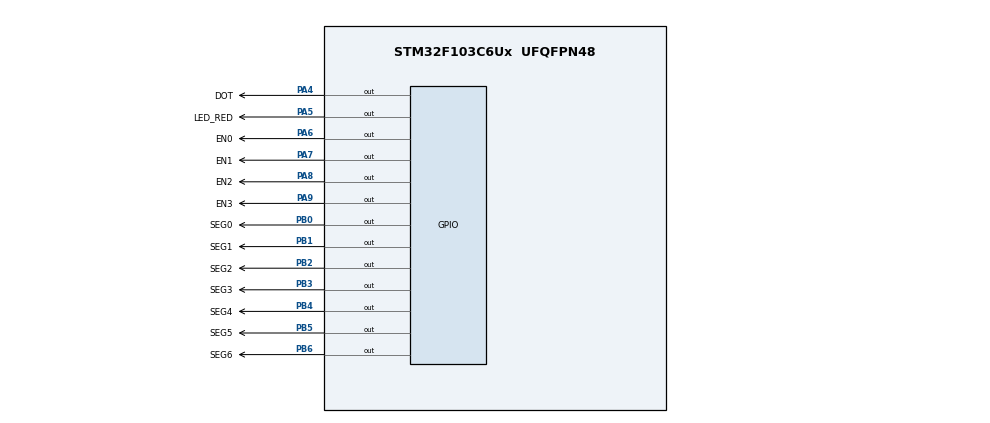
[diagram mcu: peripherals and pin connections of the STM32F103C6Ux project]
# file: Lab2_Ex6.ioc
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Mcu.Family=STM32F1
Mcu.Name=STM32F103C6Ux
Mcu.Package=UFQFPN48
NVIC.PriorityGroup=NVIC_PRIORITYGROUP_4
NVIC.TIM2_IRQn=true\:0\:0\:false\:false\:true\:true\:true
PA4.GPIO_Label=DOT
PA4.Signal=GPIO_Output
PA5.GPIO_Label=LED_RED
PA5.Signal=GPIO_Output
PA6.GPIO_Label=EN0
PA6.Signal=GPIO_Output
PA7.GPIO_Label=EN1
PA7.Signal=GPIO_Output
PA8.GPIO_Label=EN2
PA8.Signal=GPIO_Output
PA9.GPIO_Label=EN3
PA9.Signal=GPIO_Output
PB0.GPIO_Label=SEG0
PB0.Signal=GPIO_Output
PB1.GPIO_Label=SEG1
PB1.Signal=GPIO_Output
PB2.GPIO_Label=SEG2
PB2.Signal=GPIO_Output
PB3.GPIO_Label=SEG3
PB3.Signal=GPIO_Output
PB4.GPIO_Label=SEG4
PB4.Signal=GPIO_Output
PB5.GPIO_Label=SEG5
PB5.Signal=GPIO_Output
PB6.GPIO_Label=SEG6
PB6.Signal=GPIO_Output
ProjectManager.HeapSize=0x200
ProjectManager.StackSize=0x400
ProjectManager.TargetToolchain=STM32CubeIDE
RCC.APB1Freq_Value=8000000
RCC.APB2Freq_Value=8000000
TIM2.Period=9
TIM2.Prescaler=7999
VP_SYS_VS_ND.Mode=No_Debug
VP_TIM2_VS_ClockSourceINT.Mode=Internal
board=custom

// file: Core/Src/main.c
/* USER CODE BEGIN Header */
/**
  ******************************************************************************
  * @file           : main.c
  * @brief          : Main program body
  ******************************************************************************
  * @attention
  *
  * <h2><center>&copy; Copyright (c) 2023 STMicroelectronics.
  * All rights reserved.</center></h2>
  *
  * This software component is licensed by ST under BSD 3-Clause license,
  * the "License"; You may not use this file except in compliance with the
  * License. You may obtain a copy of the License at:
  *                        opensource.org/licenses/BSD-3-Clause
  *
  ******************************************************************************
  */
/* USER CODE END Header */
#include "main.h"

TIM_HandleTypeDef htim2;

/* USER CODE BEGIN PV */

const int MAX_LED = 4;
int index_led = 0;
int led_buffer [4] = {0, 0, 0, 0};
int hour = 15, minute = 8, second = 55;
/* USER CODE END PV */
int timer0_counter = 0;
int timer0_flag = 0;
int TIMER_CYCLE = 10;
void SystemClock_Config(void);
static void MX_GPIO_Init(void);
static void MX_TIM2_Init(void);
/* USER CODE BEGIN PFP */
void update7SEG(int);
void setTimer0(int);
void timer_run(void);
/* USER CODE END PFP */

/* USER CODE BEGIN 0 */
void display7SEG(int num){
	if(num == 0){
			HAL_GPIO_WritePin(SEG0_GPIO_Port, SEG0_Pin, RESET);
			HAL_GPIO_WritePin(SEG1_GPIO_Port, SEG1_Pin, RESET);
			HAL_GPIO_WritePin(SEG2_GPIO_Port, SEG2_Pin, RESET);
			HAL_GPIO_WritePin(SEG3_GPIO_Port, SEG3_Pin, RESET);
			HAL_GPIO_WritePin(SEG4_GPIO_Port, SEG4_Pin, RESET);
			HAL_GPIO_WritePin(SEG5_GPIO_Port, SEG5_Pin, RESET);
			HAL_GPIO_WritePin(SEG6_GPIO_Port, SEG6_Pin, SET);
		}
		else if(num == 1){
			HAL_GPIO_WritePin(SEG0_GPIO_Port, SEG0_Pin, SET);
			HAL_GPIO_WritePin(SEG1_GPIO_Port, SEG1_Pin, RESET);
			HAL_GPIO_WritePin(SEG2_GPIO_Port, SEG2_Pin, RESET);
			HAL_GPIO_WritePin(SEG3_GPIO_Port, SEG3_Pin, SET);
			HAL_GPIO_WritePin(SEG4_GPIO_Port, SEG4_Pin, SET);
			HAL_GPIO_WritePin(SEG5_GPIO_Port, SEG5_Pin, SET);
			HAL_GPIO_WritePin(SEG6_GPIO_Port, SEG6_Pin, SET);
		}
		else if(num == 2){
			HAL_GPIO_WritePin(SEG0_GPIO_Port, SEG0_Pin, RESET);
			HAL_GPIO_WritePin(SEG1_GPIO_Port, SEG1_Pin, RESET);
			HAL_GPIO_WritePin(SEG2_GPIO_Port, SEG2_Pin, SET);
			HAL_GPIO_WritePin(SEG3_GPIO_Port, SEG3_Pin, RESET);
			HAL_GPIO_WritePin(SEG4_GPIO_Port, SEG4_Pin, RESET);
			HAL_GPIO_WritePin(SEG5_GPIO_Port, SEG5_Pin, SET);
			HAL_GPIO_WritePin(SEG6_GPIO_Port, SEG6_Pin, RESET);
		}
		else if(num == 3){
			HAL_GPIO_WritePin(SEG0_GPIO_Port, SEG0_Pin, RESET);
			HAL_GPIO_WritePin(SEG1_GPIO_Port, SEG1_Pin, RESET);
			HAL_GPIO_WritePin(SEG2_GPIO_Port, SEG2_Pin, RESET);
			HAL_GPIO_WritePin(SEG3_GPIO_Port, SEG3_Pin, RESET);
			HAL_GPIO_WritePin(SEG4_GPIO_Port, SEG4_Pin, SET);
			HAL_GPIO_WritePin(SEG5_GPIO_Port, SEG5_Pin, SET);
			HAL_GPIO_WritePin(SEG6_GPIO_Port, SEG6_Pin, RESET);
		}
		else if(num == 4){
			HAL_GPIO_WritePin(SEG0_GPIO_Port, SEG0_Pin, SET);
			HAL_GPIO_WritePin(SEG1_GPIO_Port, SEG1_Pin, RESET);
			HAL_GPIO_WritePin(SEG2_GPIO_Port, SEG2_Pin, RESET);
			HAL_GPIO_WritePin(SEG3_GPIO_Port, SEG3_Pin, SET);
			HAL_GPIO_WritePin(SEG4_GPIO_Port, SEG4_Pin, SET);
			HAL_GPIO_WritePin(SEG5_GPIO_Port, SEG5_Pin, RESET);
			HAL_GPIO_WritePin(SEG6_GPIO_Port, SEG6_Pin, RESET);
		}
		else if(num == 5){
			HAL_GPIO_WritePin(SEG0_GPIO_Port, SEG0_Pin, RESET);
			HAL_GPIO_WritePin(SEG1_GPIO_Port, SEG1_Pin, SET);
			HAL_GPIO_WritePin(SEG2_GPIO_Port, SEG2_Pin, RESET);
			HAL_GPIO_WritePin(SEG3_GPIO_Port, SEG3_Pin, RESET);
			HAL_GPIO_WritePin(SEG4_GPIO_Port, SEG4_Pin, SET);
			HAL_GPIO_WritePin(SEG5_GPIO_Port, SEG5_Pin, RESET);
			HAL_GPIO_WritePin(SEG6_GPIO_Port, SEG6_Pin, RESET);
		}
		else if(num == 6){
			HAL_GPIO_WritePin(SEG0_GPIO_Port, SEG0_Pin, RESET);
			HAL_GPIO_WritePin(SEG1_GPIO_Port, SEG1_Pin, SET);
			HAL_GPIO_WritePin(SEG2_GPIO_Port, SEG2_Pin, RESET);
			HAL_GPIO_WritePin(SEG3_GPIO_Port, SEG3_Pin, RESET);
			HAL_GPIO_WritePin(SEG4_GPIO_Port, SEG4_Pin, RESET);
			HAL_GPIO_WritePin(SEG5_GPIO_Port, SEG5_Pin, RESET);
			HAL_GPIO_WritePin(SEG6_GPIO_Port, SEG6_Pin, RESET);
		}
		else if(num == 7){
			HAL_GPIO_WritePin(SEG0_GPIO_Port, SEG0_Pin, RESET);
			HAL_GPIO_WritePin(SEG1_GPIO_Port, SEG1_Pin, RESET);
			HAL_GPIO_WritePin(SEG2_GPIO_Port, SEG2_Pin, RESET);
			HAL_GPIO_WritePin(SEG3_GPIO_Port, SEG3_Pin, SET);
			HAL_GPIO_WritePin(SEG4_GPIO_Port, SEG4_Pin, SET);
			HAL_GPIO_WritePin(SEG5_GPIO_Port, SEG5_Pin, SET);
			HAL_GPIO_WritePin(SEG6_GPIO_Port, SEG6_Pin, SET);
		}
		else if(num == 8){
			HAL_GPIO_WritePin(SEG0_GPIO_Port, SEG0_Pin, RESET);
			HAL_GPIO_WritePin(SEG1_GPIO_Port, SEG1_Pin, RESET);
			HAL_GPIO_WritePin(SEG2_GPIO_Port, SEG2_Pin, RESET);
			HAL_GPIO_WritePin(SEG3_GPIO_Port, SEG3_Pin, RESET);
			HAL_GPIO_WritePin(SEG4_GPIO_Port, SEG4_Pin, RESET);
			HAL_GPIO_WritePin(SEG5_GPIO_Port, SEG5_Pin, RESET);
			HAL_GPIO_WritePin(SEG6_GPIO_Port, SEG6_Pin, RESET);
		}
		else if(num == 9){
			HAL_GPIO_WritePin(SEG0_GPIO_Port, SEG0_Pin, RESET);
			HAL_GPIO_WritePin(SEG1_GPIO_Port, SEG1_Pin, RESET);
			HAL_GPIO_WritePin(SEG2_GPIO_Port, SEG2_Pin, RESET);
			HAL_GPIO_WritePin(SEG3_GPIO_Port, SEG3_Pin, RESET);
			HAL_GPIO_WritePin(SEG4_GPIO_Port, SEG4_Pin, SET);
			HAL_GPIO_WritePin(SEG5_GPIO_Port, SEG5_Pin, RESET);
			HAL_GPIO_WritePin(SEG6_GPIO_Port, SEG6_Pin, RESET);
		}
}
/* USER CODE END 0 */

int main(void)
{

  /* MCU Configuration--------------------------------------------------------*/

  /* Reset of all peripherals, Initializes the Flash interface and the Systick. */
  HAL_Init();

  /* Configure the system clock */
  SystemClock_Config();

  /* Initialize all configured peripherals */
  MX_GPIO_Init();
  MX_TIM2_Init();
  /* USER CODE BEGIN 2 */
  HAL_TIM_Base_Start_IT (& htim2 ) ;
  /* USER CODE END 2 */
  HAL_GPIO_TogglePin(SEG0_GPIO_Port, SEG0_Pin);
  HAL_GPIO_TogglePin(SEG1_GPIO_Port, SEG1_Pin);
  HAL_GPIO_TogglePin(SEG2_GPIO_Port, SEG2_Pin);
  HAL_GPIO_TogglePin(SEG3_GPIO_Port, SEG3_Pin);
  HAL_GPIO_TogglePin(SEG4_GPIO_Port, SEG4_Pin);
  HAL_GPIO_TogglePin(SEG5_GPIO_Port, SEG5_Pin);
  HAL_GPIO_TogglePin(SEG6_GPIO_Port, SEG6_Pin);
  /* Infinite loop */
  /* USER CODE BEGIN WHILE */
  setTimer0 (10) ;
  while (1)
  {
    /* USER CODE END WHILE */
	  if(timer0_flag == 1) {
	  	 		  HAL_GPIO_TogglePin(LED_RED_GPIO_Port, LED_RED_Pin);
	  	 		  setTimer0(2000);
	  	 	  }
  }
}

void SystemClock_Config(void)
{
  RCC_OscInitTypeDef RCC_OscInitStruct = {0};
  RCC_ClkInitTypeDef RCC_ClkInitStruct = {0};

  /** Initializes the RCC Oscillators according to the specified parameters
  * in the RCC_OscInitTypeDef structure.
  */
  RCC_OscInitStruct.OscillatorType = RCC_OSCILLATORTYPE_HSI;
  RCC_OscInitStruct.HSIState = RCC_HSI_ON;
  RCC_OscInitStruct.HSICalibrationValue = RCC_HSICALIBRATION_DEFAULT;
  RCC_OscInitStruct.PLL.PLLState = RCC_PLL_NONE;
  if (HAL_RCC_OscConfig(&RCC_OscInitStruct) != HAL_OK)
  {
    Error_Handler();
  }
  /** Initializes the CPU, AHB and APB buses clocks
  */
  RCC_ClkInitStruct.ClockType = RCC_CLOCKTYPE_HCLK|RCC_CLOCKTYPE_SYSCLK
                              |RCC_CLOCKTYPE_PCLK1|RCC_CLOCKTYPE_PCLK2;
  RCC_ClkInitStruct.SYSCLKSource = RCC_SYSCLKSOURCE_HSI;
  RCC_ClkInitStruct.AHBCLKDivider = RCC_SYSCLK_DIV1;
  RCC_ClkInitStruct.APB1CLKDivider = RCC_HCLK_DIV1;
  RCC_ClkInitStruct.APB2CLKDivider = RCC_HCLK_DIV1;

  if (HAL_RCC_ClockConfig(&RCC_ClkInitStruct, FLASH_LATENCY_0) != HAL_OK)
  {
    Error_Handler();
  }
}

static void MX_TIM2_Init(void)
{

  TIM_ClockConfigTypeDef sClockSourceConfig = {0};
  TIM_MasterConfigTypeDef sMasterConfig = {0};

  htim2.Instance = TIM2;
  htim2.Init.Prescaler = 7999;
  htim2.Init.CounterMode = TIM_COUNTERMODE_UP;
  htim2.Init.Period = 9;
  htim2.Init.ClockDivision = TIM_CLOCKDIVISION_DIV1;
  htim2.Init.AutoReloadPreload = TIM_AUTORELOAD_PRELOAD_DISABLE;
  if (HAL_TIM_Base_Init(&htim2) != HAL_OK)
  {
    Error_Handler();
  }
  sClockSourceConfig.ClockSource = TIM_CLOCKSOURCE_INTERNAL;
  if (HAL_TIM_ConfigClockSource(&htim2, &sClockSourceConfig) != HAL_OK)
  {
    Error_Handler();
  }
  sMasterConfig.MasterOutputTrigger = TIM_TRGO_RESET;
  sMasterConfig.MasterSlaveMode = TIM_MASTERSLAVEMODE_DISABLE;
  if (HAL_TIMEx_MasterConfigSynchronization(&htim2, &sMasterConfig) != HAL_OK)
  {
    Error_Handler();
  }

}

static void MX_GPIO_Init(void)
{
  GPIO_InitTypeDef GPIO_InitStruct = {0};

  /* GPIO Ports Clock Enable */
  __HAL_RCC_GPIOA_CLK_ENABLE();
  __HAL_RCC_GPIOB_CLK_ENABLE();

  /*Configure GPIO pin Output Level */
  HAL_GPIO_WritePin(GPIOA, DOT_Pin|LED_RED_Pin|EN0_Pin|EN1_Pin
                          |EN2_Pin|EN3_Pin, GPIO_PIN_RESET);

  /*Configure GPIO pin Output Level */
  HAL_GPIO_WritePin(GPIOB, SEG0_Pin|SEG1_Pin|SEG2_Pin|SEG3_Pin
                          |SEG4_Pin|SEG5_Pin|SEG6_Pin, GPIO_PIN_RESET);

  /*Configure GPIO pins : DOT_Pin LED_RED_Pin EN0_Pin EN1_Pin
                           EN2_Pin EN3_Pin */
  GPIO_InitStruct.Pin = DOT_Pin|LED_RED_Pin|EN0_Pin|EN1_Pin
                          |EN2_Pin|EN3_Pin;
  GPIO_InitStruct.Mode = GPIO_MODE_OUTPUT_PP;
  GPIO_InitStruct.Pull = GPIO_NOPULL;
  GPIO_InitStruct.Speed = GPIO_SPEED_FREQ_LOW;
  HAL_GPIO_Init(GPIOA, &GPIO_InitStruct);

  /*Configure GPIO pins : SEG0_Pin SEG1_Pin SEG2_Pin SEG3_Pin
                           SEG4_Pin SEG5_Pin SEG6_Pin */
  GPIO_InitStruct.Pin = SEG0_Pin|SEG1_Pin|SEG2_Pin|SEG3_Pin
                          |SEG4_Pin|SEG5_Pin|SEG6_Pin;
  GPIO_InitStruct.Mode = GPIO_MODE_OUTPUT_PP;
  GPIO_InitStruct.Pull = GPIO_NOPULL;
  GPIO_InitStruct.Speed = GPIO_SPEED_FREQ_LOW;
  HAL_GPIO_Init(GPIOB, &GPIO_InitStruct);

}

/* USER CODE BEGIN 4 */
int counter = 100;
int counter1 = 100;
void HAL_TIM_PeriodElapsedCallback ( TIM_HandleTypeDef * htim ){
	timer_run();
	counter --;
		counter1--;
		if( counter <= 0) {
			counter = 100;
			HAL_GPIO_TogglePin ( LED_RED_GPIO_Port , LED_RED_Pin ) ;
			update7SEG(index_led++);
			if(index_led == MAX_LED) index_led = 0;

		}
			if(counter1 == 0){
				counter1 = 100;
				HAL_GPIO_TogglePin(DOT_GPIO_Port, DOT_Pin);
			}
}
void update7SEG(int index) {
		display7SEG(led_buffer[index]);
		switch(index) {
		case 0:
			HAL_GPIO_WritePin(EN0_GPIO_Port, EN0_Pin, RESET);
			HAL_GPIO_WritePin(EN1_GPIO_Port, EN1_Pin, SET);
			HAL_GPIO_WritePin(EN2_GPIO_Port, EN2_Pin, SET);
			HAL_GPIO_WritePin(EN3_GPIO_Port, EN3_Pin, SET);
			break;
		case 1:
			HAL_GPIO_WritePin(EN0_GPIO_Port, EN0_Pin, SET);
			HAL_GPIO_WritePin(EN1_GPIO_Port, EN1_Pin, RESET);
			HAL_GPIO_WritePin(EN2_GPIO_Port, EN2_Pin, SET);
			HAL_GPIO_WritePin(EN3_GPIO_Port, EN3_Pin, SET);
			break;
		case 2:
			HAL_GPIO_WritePin(EN0_GPIO_Port, EN0_Pin, SET);
			HAL_GPIO_WritePin(EN1_GPIO_Port, EN1_Pin, SET);
			HAL_GPIO_WritePin(EN2_GPIO_Port, EN2_Pin, RESET);
			HAL_GPIO_WritePin(EN3_GPIO_Port, EN3_Pin, SET);
			break;
		case 3:
			HAL_GPIO_WritePin(EN0_GPIO_Port, EN0_Pin, SET);
			HAL_GPIO_WritePin(EN1_GPIO_Port, EN1_Pin, SET);
			HAL_GPIO_WritePin(EN2_GPIO_Port, EN2_Pin, SET);
			HAL_GPIO_WritePin(EN3_GPIO_Port, EN3_Pin, RESET);
			break;
		default:
			break;
		}
}
void updateClockBuffer(){
	led_buffer[0] = hour / 10;
	led_buffer[1] = hour % 10;
	led_buffer[2] = minute / 10;
	led_buffer[3] = minute % 10;
}
void setTimer0(int duration) {
	timer0_counter = duration / TIMER_CYCLE;
	timer0_flag = 0;
}

void timer_run() {
	if(timer0_counter > 0) {
		timer0_counter--;
		if(timer0_counter == 0) {
			timer0_flag = 1;
		}
	}
}
/* USER CODE END 4 */

void Error_Handler(void)
{
  __disable_irq();
  while (1)
  {
  }
}

/************************ (C) COPYRIGHT STMicroelectronics *****END OF FILE****/
